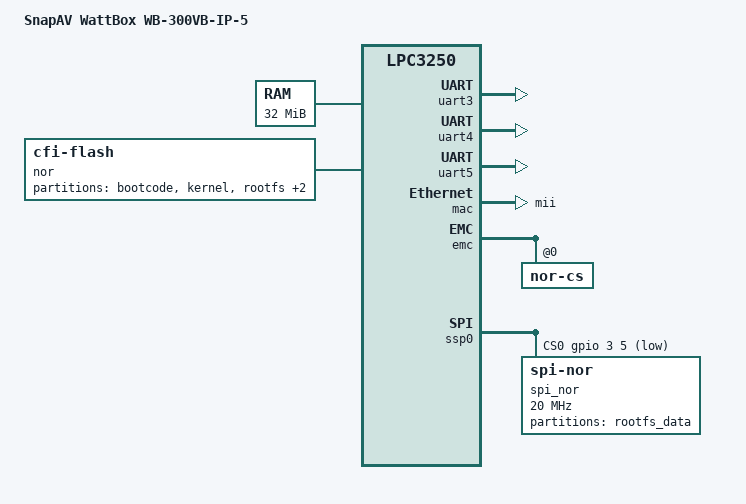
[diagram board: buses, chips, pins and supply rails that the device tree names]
// SPDX-License-Identifier: GPL-2.0-or-later
/*
 * SnapAV WattBox WB-300VB-IP-5 (and sibling WB-300/700 IP-series units)
 *
 * Reverse-engineered from firmware WB10.B929 (2022-12-06): a U-Boot legacy
 * uImage wrapping a Linux 2.6.34 zImage, `console=/dev/null mem=32M` boot
 * args, and a CramFS rootfs.
 *
 * 2026-08-18 UPDATE: a live root shell was obtained on a real unit
 * (10.203.254.48) over telnet, and the hardware bring-up checklist was run
 * against the running stock firmware (read-only, no flash writes). Values
 * previously guessed are now measured; the sources are marked below as:
 *   MEASURED   -- read directly from /proc, /sys, /proc/iomem on the device.
 *   CONFIRMED  -- proven from the firmware/protocol reverse-engineering.
 *   UNVERIFIED -- still a best-effort guess; do not treat as flash-safe.
 * See ~/share/projects/wb-300VB-IP-5/bringup-results-2026-08-18.md.
 *
 * The single biggest correction: this board has NO NAND. It boots from a
 * memory-mapped parallel NOR on the LPC32xx EMC (external memory
 * controller), and carries a second, SPI NOR chip for its writable log
 * store. The old &slc NAND node was wrong and has been removed.
 */

/dts-v1/;
#include "lpc32xx.dtsi"

/ {
	model = "SnapAV WattBox WB-300VB-IP-5";
	compatible = "snapav,wattbox-wb300vb", "nxp,lpc3250";

	/*
	 * MEASURED: /proc/tty/driver/serial + /proc/iomem show exactly three
	 * wired UARTs on the stock kernel, and they enumerate in this order:
	 *   ttyS0 = uart5 @ 0x40090000 (idle -- the physical console header)
	 *   ttyS1 = uart3 @ 0x40080000 (busy both ways -- the outlet-PIC link)
	 *   ttyS2 = uart4 @ 0x40088000 (TX only -- RS-232 passthrough)
	 * Pin the same numbering here so vendor-userspace assumptions about
	 * /dev/ttyS1 (the PIC link, see below) still hold under mainline.
	 */
	aliases {
		serial0 = &uart5;
		serial1 = &uart3;
		serial2 = &uart4;
	};

	/*
	 * MEASURED: stock boots with `console=/dev/null`, so nothing was ever
	 * emitted on the header. uart5 (ttyS0) is idle (tx:0 rx:0) -- the most
	 * likely physical console pinout. Baud is UNVERIFIED; 115200 is the
	 * LPC32xx convention. If nothing prints on first boot, this line and
	 * the uart5 pinout are the first things to re-check.
	 */
	chosen {
		stdout-path = "serial0:115200n8";
	};

	/* MEASURED: /proc/meminfo + /proc/iomem "System RAM 0x80000000-0x81ffffff",
	 * boot arg `mem=32M`. 32 MB DDR at 0x80000000. */
	memory@80000000 {
		device_type = "memory";
		reg = <0x80000000 0x2000000>;
	};

	/*
	 * MEASURED that they exist, UNVERIFIED which GPIO lines:
	 * /sys/class/leds shows three GPIO-backed LEDs (led0/led1/led2, timer
	 * trigger, max_brightness 255), and /proc/interrupts shows a
	 * "gpio_btn1_irq" (IRQ 89) -- a physical button. The exact GPIO lines
	 * could NOT be read: debugfs-gpio is compiled out of the stock kernel
	 * and busybox has no way to dump the pinmux. The outlet relays
	 * themselves are NOT SoC GPIOs -- they're switched by a separate PIC
	 * over /dev/ttyS1 ("T%02dY\r" / "T%02dN\r", see libtasks.so). Add real
	 * gpio-leds / gpio-keys nodes here once the three LED lines and the
	 * button line are traced (serial console + /sys, or a multimeter)
	 * against a running unit. Left out rather than driving a wrong pin.
	 */
};

/*
 * MEASURED: the three wired UARTs are all the standard (nxp,lpc3220-uart,
 * "16550A") type, at the addresses above. uart6 and the three hsuarts are
 * not wired on this board and stay disabled (default in lpc32xx.dtsi).
 *
 * CONFIRMED (wattbox_decompiled.c): the outlet-control PIC is on /dev/ttyS1
 * at 2400 baud, raw/CS8 -- which the alias above maps to uart3 @ 0x40080000,
 * matching the one UART that showed heavy bidirectional traffic (tx:2565
 * rx:5851) on the live unit. Do NOT send test bytes here casually: writing
 * "T01Y\r" toggles a real mains relay.
 */
&uart3 {
	status = "okay";
};

&uart4 {
	status = "okay";
};

&uart5 {
	status = "okay";
};

/*
 * CONFIRMED it's a LAN device (the whole raw-Ethernet discovery/config
 * protocol and the HTTP UI depend on it). MEASURED on the live unit:
 * lpc-net.0 @ 0x31060000, eth0 IRQ 29, MAC d4:6a:91:03:5e:f2, using the
 * mainline lpc_eth driver. RMII + IRAM descriptors is the standard LPC32x0
 * wiring; phy-mode is UNVERIFIED (could be MII) but very unlikely to be
 * anything else given the SoC has only the one MAC.
 */
&mac {
	/* phy-mode: stock RMII gave 100% RX/TX frame corruption (link up, but
	 * rx_packets=0 / rx_errors climbing, and giada never saw our TX) --
	 * classic MII-vs-RMII wiring mismatch. Trying MII. */
	phy-mode = "mii";
	use-iram;
	/*
	 * No MAC is set here on purpose. The LPC32xx ENET has no MAC in HW/OTP
	 * (POR = all zeros) and this NOR stores none, so lpc_eth would fall back
	 * to a random MAC each boot. A stable, per-unit, locally-administered MAC
	 * is derived from the SoC unique ID in userspace (base-files
	 * etc/board.d/02_network) -- keeping this image generic rather than
	 * baking in one unit's address.
	 */
	status = "okay";
};

/*
 * MEASURED -- the boot flash. This is a parallel NOR wired to EMC static
 * chip-select 0, memory-mapped at 0xE0000000 (/proc/iomem: "physmap-flash.0
 * e0000000-e07fffff"), 8 MB, six fixed partitions. It holds the bootloader,
 * kernel and CramFS root (`root=/dev/mtdblock2`). This node is load-bearing:
 * get it wrong and the unit won't boot from flash.
 *
 * How pl172 (the arm,pl175 EMC driver) uses this node: for each child it
 * REQUIRES `mpmc,cs` and `mpmc,memory-width`, reprograms only the CS width
 * register from memory-width, leaves the (safe, slow) reset timings in place
 * unless mpmc,*-delay timing props are given, then populates the child as an
 * MTD map device via the "cfi-flash" (physmap-core) driver.
 *
 * UNVERIFIED: `mpmc,memory-width`/`bank-width` = 16-bit. An 8 MB single-chip
 * NOR on the LPC32xx 16-bit EMC bus is almost certainly x16, but this was
 * not read from the device (no od/mtdinfo applet in the stock busybox). If
 * the chip does not probe on first boot, try memory-width = <8> / bank-width
 * = <1>. Because the wrong width only affects Linux's own access (U-Boot
 * still loads the kernel with its own EMC setup), and validation is done via
 * a TFTP initramfs with root NOT on this flash, a wrong guess here is
 * detected safely -- it never bricks the unit. Confirm the width and the
 * chip's real CFI/JEDEC id from /proc/mtd + mtdinfo on that first boot.
 *
 * Partition offsets are contiguous-from-zero, derived from the erase-block
 * sizes in /proc/mtd (which lists partitions in flash order); sizes are
 * MEASURED verbatim. They sum to exactly 0x800000 = 8 MB.
 */
/*
 * EMC CS0 timing: keep the controller enabled and configure CS0 from the
 * chip width so writes/erases are correctly timed. pl172 only *configures*
 * this child (via mpmc,cs + mpmc,memory-width); it does NOT turn it into an
 * MTD. The actual NOR MTD is the TOP-LEVEL cfi-flash node below.
 *
 * Why not the flash node here: pl172 does of_platform_populate(child), which
 * instantiates the child's *children* (the partitions subnode), NOT the flash
 * node itself -- so a `cfi-flash` node placed under &emc never becomes a
 * platform device and physmap never binds (observed: only an
 * "e0000000.flash:partitions" device appeared, no /dev/mtd*, no CFI probe).
 * A root-level node with the absolute physical reg IS populated by the
 * platform bus, so physmap-core binds and runs the CFI probe.
 */
&emc {
	status = "okay";

	#address-cells = <1>;
	#size-cells = <1>;

	nor-cs@0 {
		reg = <0 0x00800000>;		/* EMC CS0 -> 0xE0000000, 8 MB */
		mpmc,cs = <0>;
		mpmc,memory-width = <16>;	/* x16 8MB NOR on the 16-bit EMC */
		/*
		 * PB (byte-lane state, EMCStaticConfig0 bit7). Vendor U-Boot sets
		 * this (0x81); without it pl172 programs 0x01 and the byte-lane/WE#
		 * strobes don't drive on writes -> ALL parallel-NOR erase/program
		 * from Linux fails ("MTD do_erase_oneblock(): software timeout").
		 * REQUIRED for the jffs2 overlay (rootfs_data) to be writable.
		 * See gotcha_wattbox_emc_pb_bit_nor_writes.
		 */
		mpmc,byte-lane-low;
	};
};

/* Memory-mapped parallel NOR (mtd0-5 on stock). Absolute physical address so
 * the physmap-core "cfi-flash" driver binds directly. bank-width 2 = x16. */
/ {
	nor: flash@e0000000 {
		compatible = "cfi-flash";
		reg = <0xe0000000 0x00800000>;	/* 8 MB @ 0xE0000000 */
		bank-width = <2>;

		partitions {
			compatible = "fixed-partitions";
			#address-cells = <1>;
			#size-cells = <1>;

			partition@0 {
				label = "bootcode";
				reg = <0x00000000 0x00020000>;	/* 128 KB */
				read-only;
			};
			/*
			 * No-initramfs install layout. The self-decompressing
			 * kernel (zImage+appended-DTB, ~2.70 MB) needs > the old
			 * 1.625 MB, so "kernel" is grown to 3 MB. "rootfs" is
			 * sized to EXACTLY the block-aligned squashfs (0x1a0000)
			 * so mtdsplit finds no trailing space and does NOT carve
			 * a rootfs_data here -- the writable overlay is the 8 MB
			 * SPI NOR (mtd6 "rootfs_data") instead. U-Boot bootcmd
			 * (cp.b 0xE0020000 -> 0x80008000, then go) is unchanged;
			 * it copies from 0x20000 and the zImage self-extracts.
			 * The gap 0x4c0000..0x7d0000 is intentionally unused so
			 * nvram/u-boot-env keep their fixed top-of-flash offsets.
			 */
			partition@20000 {
				label = "kernel";
				reg = <0x00020000 0x00300000>;	/* 3 MB */
			};
			partition@320000 {
				label = "rootfs";
				reg = <0x00320000 0x001a0000>;	/* 1.625 MB = block-aligned squashfs */
			};
			partition@7d0000 {
				label = "nvram";
				reg = <0x007d0000 0x00020000>;	/* 128 KB */
				read-only;
			};
			partition@7f0000 {
				label = "u-boot-env";
				reg = <0x007f0000 0x00010000>;	/* 64 KB */
			};
		};
	};
};

/*
 * Second flash: 8 MB SPI NOR (Macronix MX25L64, JEDEC c2 20 17) on the
 * LPC32xx SSP0/PL022 controller (@0x20084000, IRQ 20). Stock mounts it whole
 * as jffs2 at /mnt/log. We use it as the OpenWrt overlay (rootfs_data) so the
 * parallel NOR stays a read-only boot flash.
 *
 * CS = GPIO_05 (bank 3, pin 5) -- CONFIRMED: driving SSP0 with CS=GPIO_05
 * (P2_GPIO05_SSEL0 mux=GPIO, P3_OUTP bit30) returned JEDEC c2 20 17 from the
 * MX25L64. Matches the stock phy3250 reference DTS (cs-gpios = <&gpio 3 5 0>).
 */
&ssp0 {
	num-cs = <1>;
	/*
	 * GPIO_05 (bank 3, pin 5) = SPI NOR chip select, ACTIVE LOW.
	 * The modern gpiod SPI core drives the CS pin per this flag:
	 * with ACTIVE_HIGH (0) it drives CS high-to-select, which leaves the
	 * active-low MX25L64 DEselected -> spi-nor reads JEDEC 0xff (observed).
	 * Proven active-low: driving GPIO_05 LOW by hand returns JEDEC c2 20 17.
	 */
	cs-gpios = <&gpio 3 5 1>;	/* 1 = GPIO_ACTIVE_LOW */
	status = "okay";

	spi_nor: flash@0 {
		compatible = "jedec,spi-nor";
		reg = <0>;
		spi-max-frequency = <20000000>;	/* conservative; chip does 50MHz+ */

		partitions {
			compatible = "fixed-partitions";
			#address-cells = <1>;
			#size-cells = <1>;

			/* whole chip = OpenWrt overlay; formatted jffs2 on first boot */
			partition@0 {
				label = "rootfs_data";
				reg = <0x00000000 0x00800000>;	/* 8 MB */
			};
		};
	};
};
